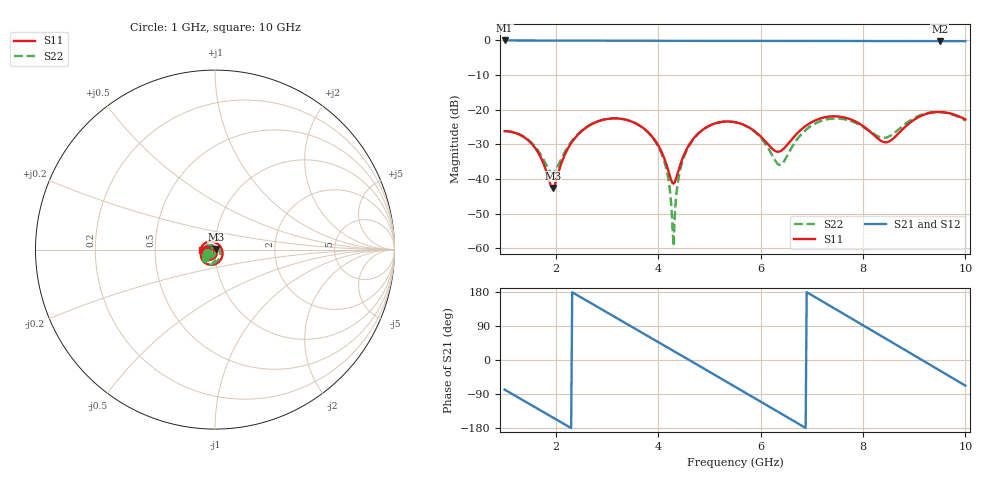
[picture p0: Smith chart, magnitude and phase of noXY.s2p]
! Touchstone file exported from HFSS 2018.2.0
!  File:  C:/Users/10024/OneDrive - The University of Nottingham Ningbo China/Year 4/Final Year Project/HFSS project/Passive_Resonator_Antenna.aedt
!  Generated:  4:20:26 下午  3月 11, 2022
!  Design:  SMA_noXY
!  Project:  Passive_Resonator_Antenna
!  Setup:  Setup1
!  Solution:  Sweep
! Variables:
!  MW = 1.992mm
!  ThruL = 40mm
!  g = 5mm
!  subH = 0.8mm
!  subX = 20mm
!  subY = 50mm
# GHZ S MA R 50.000000
! Modal data exported
! Port[1] = 1:1
! Port[2] = 2:1
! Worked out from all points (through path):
!   451 points, 1 GHz to 10 GHz, reference 50 ohm
!   highest |S21| = -0.04 dB at 1 GHz (marker M1); lowest = -0.2 dB at 9.5 GHz (marker M2)
!   group delay of S21, straight-line fit = 219 ps
!   lowest |S11| = -42.6 dB at 1.94 GHz (marker M3), VSWR 1.01, Z = 50.7 + j0.346 ohm
!   |S11| at or under -10 dB: start of sweep to end of sweep
!   |S22| runs from -59.4 to -20.7 dB; largest |S21 - S12| = 3.5e-12
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1  0.04894 -175.4  0.9956 -78.2  0.9956 -78.2  0.04912 -159.7
! Gamma ! 0 0 0 0
! Port Impedance50 0 50 0
1.54  0.03156 136.5  0.9934 -120.3  0.9934 -120.3  0.03251 168.7
1.94  0.007398 27.5  0.9919 -151.6  0.9919 -151.6  0.01222 -150.9
2.22  0.02614 -67.0  0.9904 -173.4  0.9904 -173.4  0.02801 -109.7
2.5  0.04868 -96.6  0.9886 164.7  0.9886 164.7  0.04961 -119.0
3.28  0.0737 -160.2  0.9849 103.9  0.9849 103.9  0.07373 -171.0
3.64  0.05895 173.7  0.9849 75.7  0.9849 75.7  0.05864 162.6
4  0.03058 153.9  0.9852 47.5  0.9852 47.5  0.02953 136.4
4.16  0.0162 157.3  0.9851 35.0  0.9851 35.0  0.01387 126.4
4.3  0.008599 -152.6  0.9848 24.0  0.9848 24.0  0.001076 -137.8
4.44  0.0168 -106.8  0.9844 12.9  0.9844 12.9  0.0145 -83.3
4.64  0.03419 -105.7  0.9835 -2.8  0.9835 -2.8  0.03322 -96.6
5.04  0.06066 -128.5  0.9816 -34.2  0.9816 -34.2  0.06038 -127.2
5.5  0.066 -158.2  0.9807 -70.3  0.9807 -70.3  0.06593 -164.7
5.92  0.04655 -178.3  0.9812 -103.4  0.9812 -103.4  0.04555 155.6
6.38  0.02513 -146.0  0.9813 -139.8  0.9813 -139.8  0.01594 49.3
7  0.06621 -137.4  0.9787 171.1  0.9787 171.1  0.05923 -69.9
7.8  0.0705 156.3  0.9772 107.8  0.9772 107.8  0.067 -123.5
8.5  0.03454 24.1  0.9777 52.0  0.9777 52.0  0.04081 -102.6
9  0.0717 -72.1  0.9748 12.1  0.9748 12.1  0.07572 -95.4
9.5  0.09254 -129.4  0.9726 -27.6  0.9726 -27.6  0.0922 -120.0
10  0.07233 179.8  0.9739 -67.7  0.9739 -67.7  0.06985 -140.8
